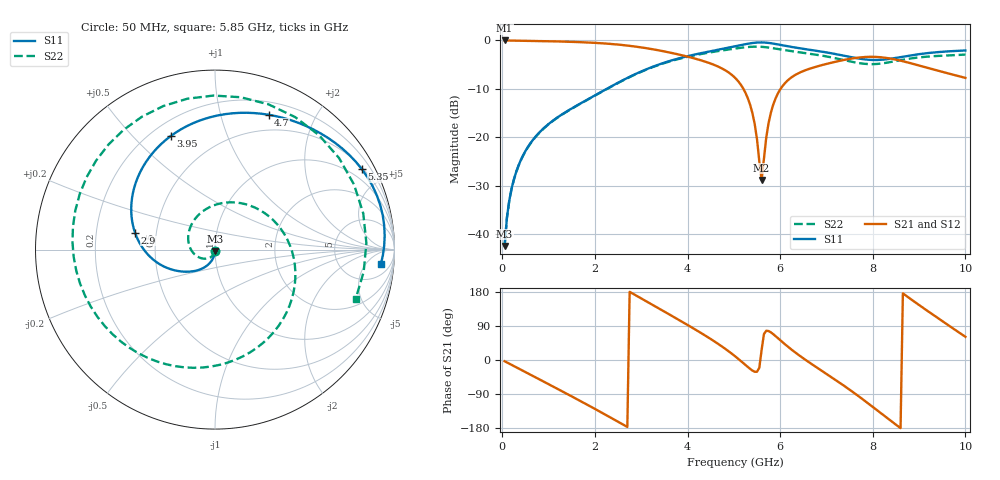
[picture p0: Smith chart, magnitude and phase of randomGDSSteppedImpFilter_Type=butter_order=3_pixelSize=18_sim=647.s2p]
! freq	dB(S11)	phase(S11)	dB(S12)	phase(S12)
!  dB(S21)	phase(S21)	dB(S22)	phase(S22)
!S-par simulation data
#  GHz  S  DB  R 50
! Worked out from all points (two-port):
!   200 points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, 50 MHz to 10 GHz, reference 50 ohm
!   highest |S21| = -0.01 dB at 50 MHz (marker M1); lowest = -28.8 dB at 5.6 GHz (marker M2)
!   |S21| within 3 dB of the highest: start of sweep to 3.856 GHz
!   lowest |S11| = -42.4 dB at 50 MHz (marker M3), VSWR 1.02, Z = 50 - j0.76 ohm
!   |S11| at or under -10 dB: start of sweep to 2.253 GHz
!   |S22| runs from -42.4 to -1.3 dB; largest |S21 - S12| = 0
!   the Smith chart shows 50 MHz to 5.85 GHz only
!   S11 on the Smith chart (normalised r, x): 50 MHz: 1.00, -0.02; 2.9 GHz: 0.38, +0.09; 3.95 GHz: 0.28, +0.65; 4.7 GHz: 0.33, +1.42; 5.35 GHz: 0.55, +3.83; 5.85 GHz: 11, -13
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0.05  -42.39 -88.9  -0.01 -3.2  -0.01 -3.2  -42.43 -91.9
0.2  -30.59 -97.0  -0.03 -12.8  -0.03 -12.8  -30.65 -107.3
0.5  -22.81 -109.2  -0.07 -31.9  -0.07 -31.9  -22.88 -135.2
1.15  -16.15 -131.5  -0.20 -73.4  -0.20 -73.4  -16.20 163.1
1.75  -12.67 -148.9  -0.38 -112.4  -0.38 -112.4  -12.71 102.3
2.9  -6.83 168.0  -1.30 169.5  -1.30 169.5  -6.89 -10.6
3.4  -4.91 142.2  -2.08 134.7  -2.08 134.7  -4.99 -54.1
3.95  -3.36 111.4  -3.22 96.1  -3.22 96.1  -3.49 -100.3
4.7  -1.85 68.3  -5.57 39.4  -5.57 39.4  -2.14 -171.3
5.05  -1.16 47.8  -7.94 7.6  -7.94 7.6  -1.65 143.2
5.35  -0.60 28.7  -13.23 -23.3  -13.23 -23.3  -1.33 90.6
5.6  -0.41 11.5  -28.79 26.6  -28.79 26.6  -1.32 36.4
5.85  -0.65 -5.0  -13.26 68.3  -13.26 68.3  -1.61 -19.3
6.2  -1.27 -24.1  -7.94 31.9  -7.94 31.9  -2.14 -84.5
6.7  -2.02 -46.6  -5.64 -12.3  -5.64 -12.3  -2.82 -154.2
7.1  -2.64 -62.5  -4.61 -44.7  -4.61 -44.7  -3.48 155.6
7.55  -3.48 -76.9  -3.73 -82.7  -3.73 -82.7  -4.41 92.7
8  -4.03 -86.0  -3.38 -123.9  -3.38 -123.9  -4.89 18.1
8.35  -3.82 -92.0  -3.69 -156.8  -3.69 -156.8  -4.52 -41.6
8.75  -3.19 -101.8  -4.53 166.8  -4.53 166.8  -3.82 -103.0
9.25  -2.55 -117.8  -5.83 123.8  -5.83 123.8  -3.29 -170.7
10  -2.08 -145.4  -7.73 61.3  -7.73 61.3  -2.92 95.7
